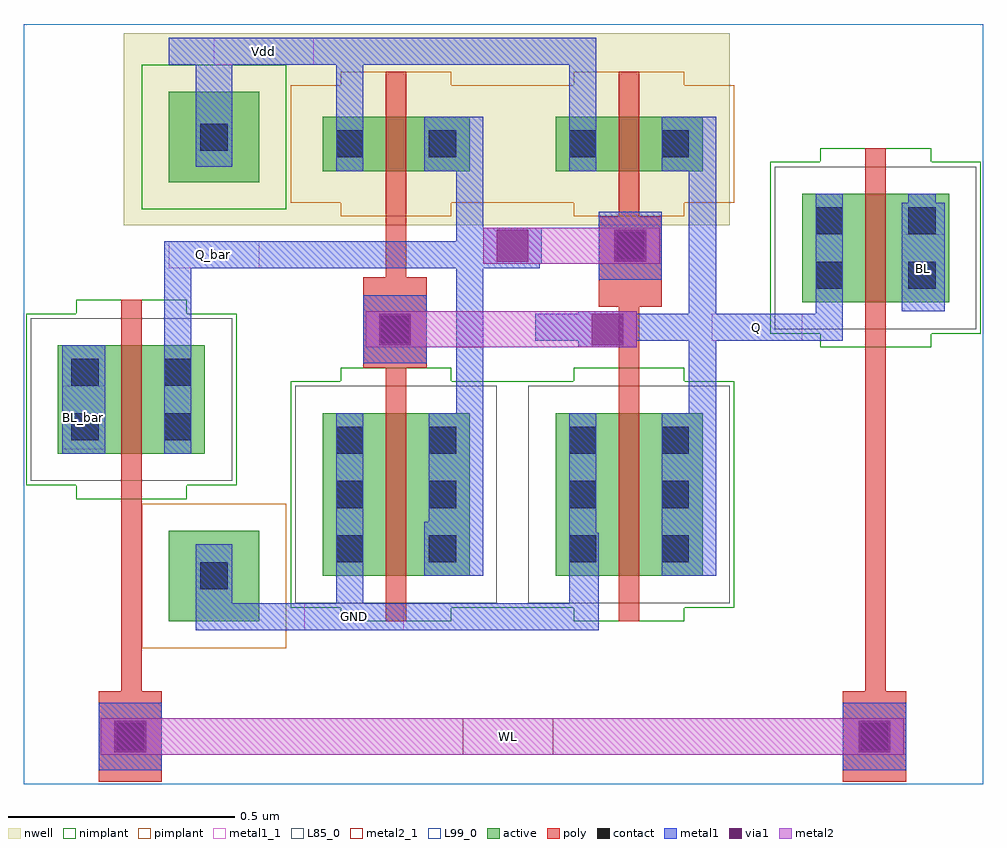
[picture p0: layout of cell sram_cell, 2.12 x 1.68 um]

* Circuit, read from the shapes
.subckt sram_cell BL BL_bar GND Q Q_bar Vdd WL
M1 Q_bar WL BL_bar GND nfet w=0.24u l=0.045u
M2 Q_bar Q GND GND nfet w=0.36u l=0.045u
M3 Q Q_bar GND GND nfet w=0.36u l=0.045u
M4 BL WL Q GND nfet w=0.24u l=0.045u
M5 Q_bar Q Vdd Vdd pfet w=0.12u l=0.045u
M6 Q Q_bar Vdd Vdd pfet w=0.12u l=0.045u
.ends

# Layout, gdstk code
from math import pi, radians
import gdstk
lib = gdstk.Library(unit=1e-6, precision=5e-10)
def R(c, l, rs):  # rectangles x0, y0, x1, y1
    for r in rs: c.add(gdstk.rectangle(r[:2], r[2:], *l))
def A(c, l, x, y, w, h, nx, ny, dx, dy):  # array of equal rectangles
    R(c, l, [(x+i*dx, y+j*dy, x+i*dx+w, y+j*dy+h) for i in range(nx) for j in range(ny)])
active = (1, 0)
nwell = (2, 0)
poly = (3, 0)
nimplant = (4, 0)
pimplant = (5, 0)
contact = (6, 0)
metal1 = (7, 0)
metal1_1 = (7, 1)
via1 = (8, 0)
metal2 = (9, 0)
metal2_1 = (9, 1)
L85_0 = (85, 0)
L99_0 = (99, 0)

nmos1v_cdns_794036771860 = lib.new_cell('nmos1v_CDNS_794036771860')
R(nmos1v_cdns_794036771860, active, [(-0.14,0,0,0.36), (0,0,0.045,0.36), (0.045,0,0.185,0.36)])
R(nmos1v_cdns_794036771860, poly, [(0,-0.1,0.045,-0.05), (0,-0.05,0.045,0), (0,0,0.045,0.36), (0,0.36,0.045,0.41), (0,0.41,0.045,0.46)])
R(nmos1v_cdns_794036771860, nimplant, [(-0.1,-0.1,0.145,0.46), (-0.21,-0.07,0.255,0.43)])
A(nmos1v_cdns_794036771860, contact, -0.11, 0.03, 0.06, 0.06, 1, 3, 0, 0.12)
A(nmos1v_cdns_794036771860, contact, 0.095, 0.03, 0.06, 0.06, 1, 3, 0, 0.12)
R(nmos1v_cdns_794036771860, metal1, [(-0.11,0,-0.05,0.36), (0.095,0,0.155,0.36)])
R(nmos1v_cdns_794036771860, L85_0, [(-0.2,-0.06,0.245,0.42)])

nmos1v_cdns_794036771861 = lib.new_cell('nmos1v_CDNS_794036771861')
R(nmos1v_cdns_794036771861, active, [(-0.14,0,0,0.24), (0,0,0.045,0.24), (0.045,0,0.185,0.24)])
R(nmos1v_cdns_794036771861, poly, [(0,-0.1,0.045,-0.05), (0,-0.05,0.045,0), (0,0,0.045,0.24), (0,0.24,0.045,0.29), (0,0.29,0.045,0.34)])
R(nmos1v_cdns_794036771861, nimplant, [(-0.1,-0.1,0.145,0.34), (-0.21,-0.07,0.255,0.31)])
R(nmos1v_cdns_794036771861, contact, [(-0.11,0.03,-0.05,0.09), (0.095,0.03,0.155,0.09), (-0.11,0.15,-0.05,0.21), (0.095,0.15,0.155,0.21)])
R(nmos1v_cdns_794036771861, metal1, [(-0.11,0,-0.05,0.24), (0.095,0,0.155,0.24)])
R(nmos1v_cdns_794036771861, L85_0, [(-0.2,-0.06,0.245,0.3)])

pmos1v_cdns_794036771862 = lib.new_cell('pmos1v_CDNS_794036771862')
R(pmos1v_cdns_794036771862, active, [(-0.14,0,0,0.12), (0,0,0.045,0.12), (0.045,0,0.185,0.12)])
R(pmos1v_cdns_794036771862, nwell, [(-0.2,-0.06,0.245,0.18)])
R(pmos1v_cdns_794036771862, poly, [(0,-0.1,0.045,-0.05), (0,-0.05,0.045,0), (0,0,0.045,0.12), (0,0.12,0.045,0.17), (0,0.17,0.045,0.22)])
R(pmos1v_cdns_794036771862, pimplant, [(-0.1,-0.1,0.145,0.22), (-0.21,-0.07,0.255,0.19)])
R(pmos1v_cdns_794036771862, contact, [(-0.11,0.03,-0.05,0.09), (0.095,0.03,0.155,0.09)])
R(pmos1v_cdns_794036771862, metal1, [(-0.11,0,-0.05,0.12), (0.095,0,0.155,0.12)])

sram_cell = lib.new_cell('sram_cell')
R(sram_cell, active, [(0.32,0.36,0.52,0.56), (0.32,1.33,0.52,1.53)])
R(sram_cell, nwell, [(0.22,1.235,1.56,1.66), (0.6,1.235,1.56,1.535)])
R(sram_cell, poly, [(0.165,0.005,0.305,0.205), (1.81,0.005,1.95,0.205), (0.215,0.105,0.26,0.33), (1.86,0.105,1.905,0.33), (0.215,0.23,0.26,0.9), (1.86,0.23,1.905,1.115), (0.8,0.565,0.845,1.275), (1.315,0.565,1.36,1.29), (1.315,0.885,1.36,1.29), (0.8,0.895,0.845,1.275), (0.75,0.92,0.89,1.12), (1.27,1.055,1.41,1.255)])
R(sram_cell, nimplant, [(1.05,0.39,1.11,0.89), (0.26,1.27,0.58,1.59)])
R(sram_cell, pimplant, [(0.26,0.3,0.58,0.62), (1.005,1.285,1.135,1.545)])
R(sram_cell, contact, [(0.205,0.075,0.265,0.135), (1.85,0.075,1.91,0.135), (0.39,0.43,0.45,0.49), (0.79,0.975,0.85,1.035), (1.31,1.16,1.37,1.22), (0.39,1.4,0.45,1.46)])
R(sram_cell, metal1, [(0.165,0.03,0.305,0.18), (1.81,0.03,1.95,0.18), (0.38,0.34,0.46,0.53), (0.39,0.34,1.27,0.4), (0.69,0.36,0.75,0.56), (1.205,0.36,1.27,0.555), (0.885,0.46,1.015,0.58), (0.955,0.46,1.015,1.375), (1.41,0.46,1.53,0.58), (1.47,0.46,1.53,1.475), (0.085,0.73,0.18,0.97), (0.31,0.73,0.37,1.2), (0.75,0.93,0.89,1.08), (1.225,0.965,1.355,1.045), (1.13,0.98,1.81,1.04), (1.75,1.025,1.81,1.295), (1.94,1.045,2.035,1.285), (1.27,1.115,1.41,1.265), (0.31,1.14,0.955,1.2), (0.895,1.14,1.14,1.2), (1.015,1.15,1.145,1.23), (0.885,1.355,1.015,1.475), (1.205,1.355,1.265,1.65), (1.41,1.355,1.53,1.475), (0.38,1.365,0.46,1.65), (0.69,1.465,0.75,1.65), (0.32,1.59,1.265,1.65), (0.69,1.59,1.265,1.65)])
R(sram_cell, metal1_1, [(0.62,0.34,0.84,0.4), (0.085,0.74,0.18,0.88), (1.52,0.98,1.72,1.04), (1.94,1.065,2.035,1.215), (0.32,1.14,0.52,1.2), (0.42,1.59,0.64,1.65)])
R(sram_cell, via1, [(0.2,0.07,0.27,0.14), (1.845,0.07,1.915,0.14), (0.785,0.97,0.855,1.04), (1.255,0.97,1.325,1.04), (1.045,1.155,1.115,1.225), (1.305,1.155,1.375,1.225)])
R(sram_cell, metal2, [(0.17,0.065,1.945,0.145), (0.17,0.065,0.3,0.145), (1.815,0.065,1.945,0.145), (0.755,0.965,0.885,1.045), (0.755,0.965,1.355,1.045), (1.225,0.965,1.355,1.045), (1.015,1.15,1.145,1.23), (1.015,1.15,1.405,1.23), (1.275,1.15,1.405,1.23)])
R(sram_cell, metal2_1, [(0.97,0.065,1.17,0.145)])
R(sram_cell, L99_0, [(0,0,2.12,1.68)])
sram_cell.add(gdstk.Reference(nmos1v_cdns_794036771860, (1.315,0.46)))
sram_cell.add(gdstk.Reference(nmos1v_cdns_794036771860, (0.8,0.46)))
sram_cell.add(gdstk.Reference(nmos1v_cdns_794036771861, (1.86,1.065)))
sram_cell.add(gdstk.Reference(nmos1v_cdns_794036771861, (0.215,0.73)))
sram_cell.add(gdstk.Reference(pmos1v_cdns_794036771862, (1.36,1.355), rotation=pi, x_reflection=True))
sram_cell.add(gdstk.Reference(pmos1v_cdns_794036771862, (0.8,1.355)))
sram_cell.add(gdstk.Label('Q', (1.62,1.01), layer=7, texttype=3))
sram_cell.add(gdstk.Label('Q_bar', (0.42,1.17), layer=7, texttype=3))
sram_cell.add(gdstk.Label('BL', (1.9875,1.14), layer=7, texttype=3))
sram_cell.add(gdstk.Label('BL_bar', (0.1325,0.81), layer=7, texttype=3))
sram_cell.add(gdstk.Label('GND', (0.73,0.37), layer=7, texttype=3))
sram_cell.add(gdstk.Label('Vdd', (0.53,1.62), layer=7, texttype=3))
sram_cell.add(gdstk.Label('WL', (1.07,0.105), layer=9, texttype=3))

lib.write_gds('sram_cell.gds')
